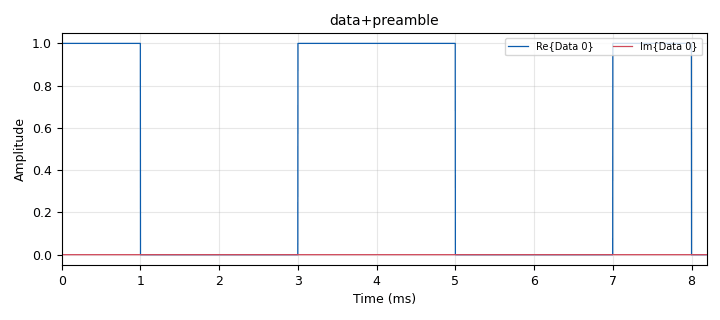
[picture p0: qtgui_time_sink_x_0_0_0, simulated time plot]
options:
  parameters:
    author: XXC
    generate_options: qt_gui
    id: hash_bit_test
    output_language: python
    title: Hash Bit Test
  states: {}

blocks:
- name: MC_data
  id: variable
  parameters:
    value: list(np.repeat(data,2))
  states: {}
- name: bits_per_clock
  id: variable
  parameters:
    value: '1'
  states: {}
- name: bits_per_pack
  id: variable
  parameters:
    value: '1'
  states: {}
- name: centerfreq
  id: variable
  parameters:
    value: 2.4e9
  states: {}
- name: clock
  id: variable
  parameters:
    value: '"010101"'
  states: {}
- name: data
  id: variable
  parameters:
    value: '[1,0,1,0]'
  states: {}
- name: decimation
  id: variable
  parameters:
    value: '1'
  states: {}
- name: delay
  id: variable_qtgui_range
  parameters:
    gui_hint: 3,0,1,1
    label: Delay
    rangeType: int
    start: '-10000'
    step: '1'
    stop: '10000'
    value: '0'
  states: {}
- name: delta
  id: variable_qtgui_range
  parameters:
    gui_hint: 6,0,1,1
    label: Delta
    start: '-2000'
    step: '1'
    stop: '2000'
    value: '0'
  states: {}
- name: filter_taps
  id: variable
  parameters:
    value: firdes.complex_band_pass(1, samp_rate, -samp_rate/(2*decimation), samp_rate/(2*decimation), transition_bw)
  states: {}
- name: frequency_offset
  id: variable_qtgui_range
  parameters:
    gui_hint: 2,0,1,1
    label: Frequency Offset
    start: '-5000'
    step: '1'
    stop: '5000'
    value: '0'
  states: {}
- name: interval
  id: variable
  parameters:
    value: list(itertools.repeat(0, 10))
  states: {}
- name: periodicity
  id: variable
  parameters:
    value: len(MC_data)+len(preamble)
  states: {}
- name: phase_offset
  id: variable_qtgui_range
  parameters:
    gui_hint: 2,1,1,1
    label: Phase Offset
    start: '0'
    step: 0.01*math.pi
    stop: 2*math.pi
    value: '0'
  states: {}
- name: preamble
  id: variable
  parameters:
    value: '[1,1,1,0,0,0]'
  states: {}
- name: samp_rate
  id: variable
  parameters:
    value: 0.5e6
  states: {}
- name: symbol_rate
  id: variable
  parameters:
    value: 1e3
  states: {}
- name: tag_clock
  id: variable_tag_object
  parameters:
    key: pmt.intern("clock")
    offset: '0'
    src: pmt.intern("vecsrc")
    value: pmt.intern("0")
  states: {}
- name: tag_message
  id: variable_tag_object
  parameters:
    key: pmt.intern("t0")
    offset: '0'
    src: pmt.intern("vecsrc")
    value: pmt.intern("message start")
  states: {}
- name: transition_bw
  id: variable
  parameters:
    value: '200'
  states: {}
- name: analog_sig_source_x_0
  id: analog_sig_source_x
  parameters:
    amp: '1'
    freq: '9000'
    offset: '0'
    phase: '0'
    samp_rate: samp_rate
    type: complex
    waveform: analog.GR_COS_WAVE
  states: {}
- name: blocks_complex_to_mag_squared_0_0
  id: blocks_complex_to_mag_squared
  parameters: {}
  states: {}
- name: blocks_complex_to_mag_squared_0_1
  id: blocks_complex_to_mag_squared
  parameters:
    vlen: '4096'
  states: {}
- name: blocks_file_sink_0
  id: blocks_file_sink
  parameters:
    file: /home/iar/Desktop/XXC_In-Band-USRP/Attacker_TX_RX/XXC/frequency
    type: float
    vlen: '4096'
  states: {state: disabled}
- name: blocks_file_sink_0_0
  id: blocks_file_sink
  parameters:
    file: /home/iar/Desktop/XXC_In-Band-USRP/Attacker_TX_RX/XXC/amplitude
    type: complex
  states: {state: disabled}
- name: blocks_moving_average_xx_0
  id: blocks_moving_average_xx
  parameters:
    length: int(samp_rate/symbol_rate)
    max_iter: '4000'
    scale: '1'
    type: complex
  states: {}
- name: blocks_multiply_xx_0
  id: blocks_multiply_xx
  parameters:
    type: complex
  states: {}
- name: blocks_stream_to_vector_0
  id: blocks_stream_to_vector
  parameters:
    num_items: '4096'
    type: complex
  states: {}
- name: blocks_threshold_ff_0_0
  id: blocks_threshold_ff
  parameters:
    high: '0.005'
    init: '0'
    low: '0.4e-3'
  states: {}
- name: blocks_throttle_0
  id: blocks_throttle
  parameters:
    samples_per_second: samp_rate
    type: byte
  states: {}
- name: blocks_uchar_to_float_0_0_1_0
  id: blocks_uchar_to_float
  parameters: {}
  states: {}
- name: blocks_unpack_k_bits_bb_0_0
  id: blocks_unpack_k_bits_bb
  parameters:
    k: bits_per_pack
  states: {}
- name: blocks_unpack_k_bits_bb_0_0_0
  id: blocks_unpack_k_bits_bb
  parameters:
    k: bits_per_clock
  states: {}
- name: blocks_vector_insert_x_0
  id: blocks_vector_insert_x
  parameters:
    offset: '0'
    period: periodicity
    type: byte
    vector: preamble
  states: {}
- name: blocks_vector_insert_x_0_0
  id: blocks_vector_insert_x
  parameters:
    offset: '0'
    period: periodicity+len(interval)
    type: byte
    vector: interval
  states: {}
- name: blocks_vector_source_x_0
  id: blocks_vector_source_x
  parameters:
    repeat: 'True'
    tags: '[tag_message]'
    type: byte
    vector: MC_data
  states: {}
- name: blocks_vector_source_x_0_0_0
  id: blocks_vector_source_x
  parameters:
    repeat: 'True'
    tags: '[tag_clock]'
    type: byte
    vector: '[int(x) for x in clock]'
  states: {}
- name: blocks_vector_to_stream_0
  id: blocks_vector_to_stream
  parameters:
    num_items: '4096'
    type: float
  states: {}
- name: blocks_xor_xx_0
  id: blocks_xor_xx
  parameters:
    type: byte
  states: {}
- name: epy_block_0
  id: epy_block
  parameters:
    _source_code: |
      """
      Embedded Python Blocks:

      Each time this file is saved, GRC will instantiate the first class it finds
      to get ports and parameters of your block. The arguments to __init__  will
      be the parameters. All of them are required to have default values!
      """

      import numpy as np
      from gnuradio import gr


      class blk(gr.sync_block):  # other base classes are basic_block, decim_block, interp_block
          """Embedded Python Block example - a simple multiply const"""

          def __init__(self, example_param=1.0):  # only default arguments here
              """arguments to this function show up as parameters in GRC"""
              gr.sync_block.__init__(
                  self,
                  name='Highest Frequency Print',   # will show up in GRC
                  in_sig=[np.float32],
                  out_sig=None
              )
              # if an attribute with the same name as a parameter is found,
              # a callback is registered (properties work, too).
              self.example_param = example_param

          def work(self, input_items, output_items):
              """example: multiply with constant"""
              output_items[0][:] = input_items[0] * self.example_param
              print(output_items[0][:])
              return len(output_items[0])
    example_param: '1.0'
  states: {state: disabled}
- name: fft_vxx_0
  id: fft_vxx
  parameters:
    fft_size: '4096'
    forward: 'True'
    shift: 'True'
    type: complex
    window: window.blackmanharris(4096)
  states: {}
- name: freq_xlating_fir_filter_xxx_0_0
  id: freq_xlating_fir_filter_xxx
  parameters:
    center_freq: centerfreq
    decim: '1'
    samp_rate: samp_rate
    taps: filter_taps
    type: ccc
  states: {state: disabled}
- name: import_0
  id: import
  parameters:
    imports: import numpy as np
  states: {}
- name: import_0_0_0
  id: import
  parameters:
    imports: import math
  states: {}
- name: import_0_0_0_0
  id: import
  parameters:
    imports: from gnuradio import digital
  states: {}
- name: import_0_0_1
  id: import
  parameters:
    imports: import random
  states: {}
- name: import_0_1_0_0
  id: import
  parameters:
    imports: import itertools
  states: {}
- name: qtgui_freq_sink_x_0
  id: qtgui_freq_sink_x
  parameters:
    bw: samp_rate
    fc: '0'
    fftsize: '1024'
    label1: original
    label2: received
    nconnections: '2'
    type: complex
  states: {}
- name: qtgui_freq_sink_x_0_0_0
  id: qtgui_freq_sink_x
  parameters:
    bw: samp_rate
    fc: '0'
    fftsize: '1024'
    gui_hint: tab2@2:0,1,1,1
    name: '"RX After Threshold"'
    type: float
  states: {}
- name: qtgui_freq_sink_x_0_1
  id: qtgui_freq_sink_x
  parameters:
    bw: samp_rate
    fc: '0'
    fftsize: '1024'
    gui_hint: tab2@2:0,0,1,1
    name: '"RX after Filter"'
    type: float
  states: {}
- name: qtgui_time_sink_x_0_0_0
  id: qtgui_time_sink_x
  parameters:
    autoscale: 'True'
    ctrlpanel: 'True'
    grid: 'True'
    gui_hint: tab0@0
    name: '"data+preamble"'
    size: '4096'
    srate: samp_rate
    tr_mode: qtgui.TRIG_MODE_TAG
    tr_tag: '"t0"'
    type: complex
  states: {}
- name: qtgui_time_sink_x_0_0_1
  id: qtgui_time_sink_x
  parameters:
    autoscale: 'True'
    ctrlpanel: 'True'
    grid: 'True'
    gui_hint: tab2@1:0,1,1,1
    name: '"RX After Threshold"'
    size: '1024'
    srate: samp_rate
    tr_mode: qtgui.TRIG_MODE_NORM
    tr_tag: '"t1"'
    type: float
  states: {}
- name: qtgui_time_sink_x_0_1
  id: qtgui_time_sink_x
  parameters:
    autoscale: 'True'
    ctrlpanel: 'True'
    grid: 'True'
    gui_hint: tab2@1:0,0,1,1
    name: '"RX after Filter"'
    size: '1024'
    srate: samp_rate
    tr_mode: qtgui.TRIG_MODE_NORM
    tr_tag: '"t1"'
    type: float
  states: {}
- name: qtgui_time_sink_x_0_2_0
  id: qtgui_time_sink_x
  parameters:
    autoscale: 'True'
    ctrlpanel: 'True'
    grid: 'True'
    gui_hint: tab2@0
    name: '"RX Received Directly"'
    size: '1024'
    srate: samp_rate
    tr_mode: qtgui.TRIG_MODE_NORM
    tr_tag: '"t1"'
    type: complex
  states: {}
- name: qtgui_time_sink_x_0_2_0_0
  id: qtgui_time_sink_x
  parameters:
    autoscale: 'True'
    ctrlpanel: 'True'
    entags: 'False'
    grid: 'True'
    gui_hint: tab2@0
    label1: original
    label3: received
    name: Compare
    nconnections: '2'
    size: '1024'
    srate: samp_rate
    tr_mode: qtgui.TRIG_MODE_NORM
    tr_tag: '"t1"'
    type: complex
  states: {}
- name: qtgui_time_sink_x_1
  id: qtgui_time_sink_x
  parameters:
    size: '4096'
    srate: samp_rate
    type: float
  states: {}
- name: qtgui_vector_sink_f_0
  id: qtgui_vector_sink_f
  parameters:
    ref_level: '-100'
    vlen: '4096'
    x_start: '0'
    x_step: '1.0'
  states: {}
- name: rational_resampler_xxx_0_0
  id: rational_resampler_xxx
  parameters:
    decim: '1'
    interp: int(samp_rate/symbol_rate)
    taps: '1'
    type: fcc
  states: {}
- name: tab0
  id: qtgui_tab_widget
  parameters:
    gui_hint: 1,0,1,2
    label0: Data
    num_tabs: '1'
  states: {}
- name: tab1
  id: qtgui_tab_widget
  parameters:
    gui_hint: 4,0,1,2
    label0: Time Directly
    label1: Time
    label2: Frequency
    num_tabs: '3'
  states: {}
- name: tab2
  id: qtgui_tab_widget
  parameters:
    gui_hint: 5,0,1,2
    label0: Time Directly
    label1: Time
    label2: Frequency
    num_tabs: '3'
  states: {}
- name: uhd_usrp_sink_0
  id: uhd_usrp_sink
  parameters:
    ant0: '"TX/RX"'
    bw0: 22e6
    center_freq0: centerfreq
    dev_addr: '"addr = 192.168.10.4"'
    gain0: '1'
    gain_type0: normalized
    samp_rate: samp_rate
    sync: pc_clock
    type: fc32
  states: {}
- name: uhd_usrp_source_1_0
  id: uhd_usrp_source
  parameters:
    ant0: '"TX/RX"'
    bw0: 22e6
    center_freq0: centerfreq-delta
    dev_addr: '"addr = 192.168.10.5"'
    gain0: '0.5'
    gain_type0: normalized
    rx_agc0: Disabled
    samp_rate: samp_rate
    sync: pc_clock
    type: fc32
  states: {}

connections:
- [analog_sig_source_x_0, '0', blocks_multiply_xx_0, '1']
- [blocks_complex_to_mag_squared_0_0, '0', blocks_threshold_ff_0_0, '0']
- [blocks_complex_to_mag_squared_0_0, '0', qtgui_freq_sink_x_0_1, '0']
- [blocks_complex_to_mag_squared_0_0, '0', qtgui_time_sink_x_0_1, '0']
- [blocks_complex_to_mag_squared_0_1, '0', blocks_file_sink_0, '0']
- [blocks_complex_to_mag_squared_0_1, '0', blocks_vector_to_stream_0, '0']
- [blocks_complex_to_mag_squared_0_1, '0', qtgui_vector_sink_f_0, '0']
- [blocks_moving_average_xx_0, '0', blocks_multiply_xx_0, '0']
- [blocks_moving_average_xx_0, '0', qtgui_time_sink_x_0_0_0, '0']
- [blocks_multiply_xx_0, '0', qtgui_freq_sink_x_0, '0']
- [blocks_multiply_xx_0, '0', qtgui_time_sink_x_0_2_0_0, '0']
- [blocks_multiply_xx_0, '0', uhd_usrp_sink_0, '0']
- [blocks_stream_to_vector_0, '0', fft_vxx_0, '0']
- [blocks_threshold_ff_0_0, '0', qtgui_freq_sink_x_0_0_0, '0']
- [blocks_threshold_ff_0_0, '0', qtgui_time_sink_x_0_0_1, '0']
- [blocks_throttle_0, '0', blocks_uchar_to_float_0_0_1_0, '0']
- [blocks_uchar_to_float_0_0_1_0, '0', rational_resampler_xxx_0_0, '0']
- [blocks_unpack_k_bits_bb_0_0, '0', blocks_xor_xx_0, '0']
- [blocks_unpack_k_bits_bb_0_0_0, '0', blocks_xor_xx_0, '1']
- [blocks_vector_insert_x_0, '0', blocks_vector_insert_x_0_0, '0']
- [blocks_vector_insert_x_0_0, '0', blocks_throttle_0, '0']
- [blocks_vector_source_x_0, '0', blocks_unpack_k_bits_bb_0_0, '0']
- [blocks_vector_source_x_0_0_0, '0', blocks_unpack_k_bits_bb_0_0_0, '0']
- [blocks_vector_to_stream_0, '0', epy_block_0, '0']
- [blocks_vector_to_stream_0, '0', qtgui_time_sink_x_1, '0']
- [blocks_xor_xx_0, '0', blocks_vector_insert_x_0, '0']
- [fft_vxx_0, '0', blocks_complex_to_mag_squared_0_1, '0']
- [freq_xlating_fir_filter_xxx_0_0, '0', blocks_complex_to_mag_squared_0_0, '0']
- [rational_resampler_xxx_0_0, '0', blocks_moving_average_xx_0, '0']
- [uhd_usrp_source_1_0, '0', blocks_complex_to_mag_squared_0_0, '0']
- [uhd_usrp_source_1_0, '0', blocks_stream_to_vector_0, '0']
- [uhd_usrp_source_1_0, '0', freq_xlating_fir_filter_xxx_0_0, '0']
- [uhd_usrp_source_1_0, '0', qtgui_freq_sink_x_0, '1']
- [uhd_usrp_source_1_0, '0', qtgui_time_sink_x_0_2_0, '0']
- [uhd_usrp_source_1_0, '0', qtgui_time_sink_x_0_2_0_0, '1']

metadata:
  file_format: 1
